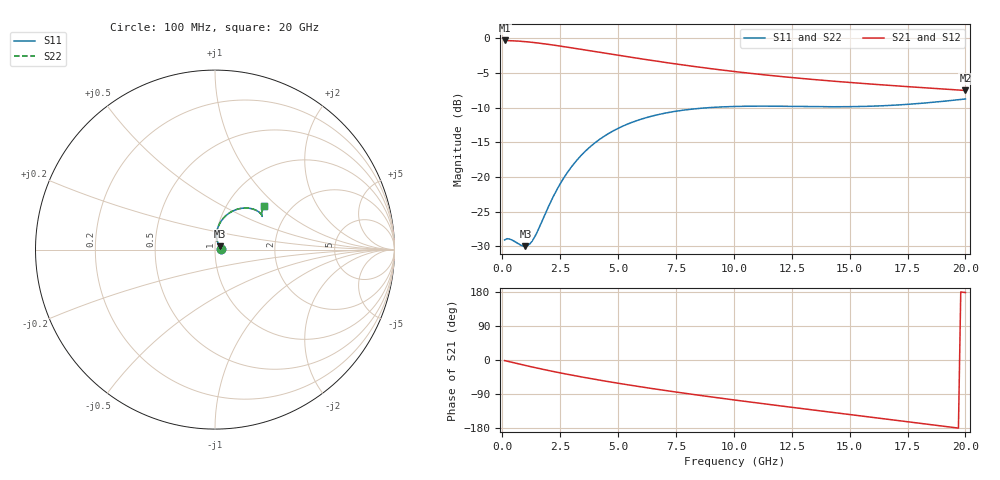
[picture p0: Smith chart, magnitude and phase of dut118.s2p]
! Created with skrf 1.9.0 (http://scikit-rf.org).
# GHz S RI R 50.0
!freq ReS11 ImS11 ReS21 ImS21 ReS12 ImS12 ReS22 ImS22
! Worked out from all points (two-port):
!   200 points, 100 MHz to 20 GHz, reference 50 ohm
!   highest |S21| = -0.31 dB at 100 MHz (marker M1); lowest = -7.5 dB at 20 GHz (marker M2)
!   |S21| within 3 dB of the highest: start of sweep to 6.698 GHz
!   lowest |S11| = -30.0 dB at 1 GHz (marker M3), VSWR 1.07, Z = 52.6 + j1.96 ohm
!   |S11| at or under -10 dB: start of sweep to 8.897 GHz
!   |S22| runs from -30.0 to -8.7 dB; largest |S21 - S12| = 1.8e-15
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0.1  0.0351 0.0031  0.9643 -0.0265  0.9643 -0.0265  0.0351 0.0031
0.3  0.0355 0.00504  0.9588 -0.0747  0.9588 -0.0747  0.0355 0.00504
0.8  0.0294 0.0135  0.932 -0.1917  0.932 -0.1917  0.0294 0.0135
1  0.0257 0.0186  0.9157 -0.2357  0.9157 -0.2357  0.0257 0.0186
1.2  0.0219 0.0249  0.8965 -0.2776  0.8965 -0.2776  0.0219 0.0249
1.4  0.0181 0.0323  0.8749 -0.3172  0.8749 -0.3172  0.0181 0.0323
2.1  0.00919 0.0662  0.7857 -0.4364  0.7857 -0.4364  0.00919 0.0662
2.6  0.00962 0.0949  0.714 -0.5035  0.714 -0.5035  0.00962 0.0949
3  0.0147 0.1184  0.6546 -0.5473  0.6546 -0.5473  0.0147 0.1184
3.5  0.0266 0.1463  0.5795 -0.5909  0.5795 -0.5909  0.0266 0.1463
4.2  0.051 0.1797  0.4759 -0.6341  0.4759 -0.6341  0.051 0.1797
4.9  0.0809 0.2046  0.3763 -0.6598  0.3763 -0.6598  0.0809 0.2046
5.8  0.1216 0.224  0.2569 -0.6721  0.2569 -0.6721  0.1216 0.224
6.8  0.1636 0.2316  0.1374 -0.6649  0.1374 -0.6649  0.1636 0.2316
8.4  0.2156 0.2245  -0.0241 -0.6223  -0.0241 -0.6223  0.2156 0.2245
10.1  0.2479 0.207  -0.1594 -0.5516  -0.1594 -0.5516  0.2479 0.207
11.7  0.2609 0.1924  -0.2578 -0.4713  -0.2578 -0.4713  0.2609 0.1924
13.4  0.2632 0.1852  -0.3364 -0.3771  -0.3364 -0.3771  0.2632 0.1852
15  0.2608 0.1882  -0.3883 -0.2831  -0.3883 -0.2831  0.2608 0.1882
16.7  0.2594 0.2009  -0.4211 -0.1802  -0.4211 -0.1802  0.2594 0.2009
18.3  0.263 0.2192  -0.4312 -0.0836  -0.4312 -0.0836  0.263 0.2192
20  0.2745 0.2412  -0.4205 0.0147  -0.4205 0.0147  0.2745 0.2412
